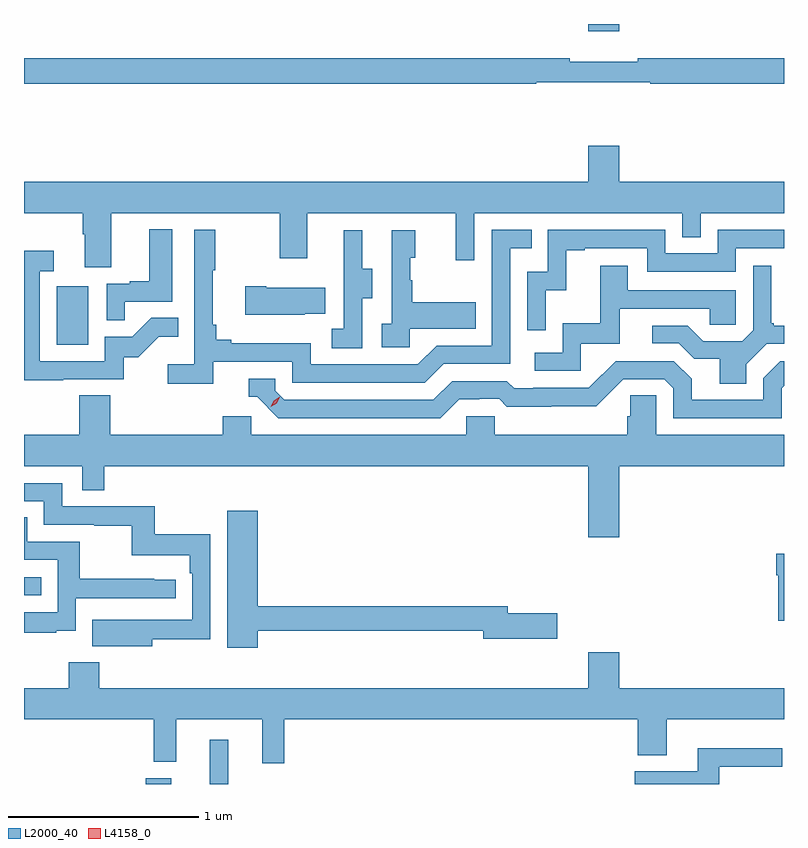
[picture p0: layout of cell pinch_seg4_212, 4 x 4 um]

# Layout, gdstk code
import gdstk
lib = gdstk.Library(unit=1e-6, precision=1e-09)
def R(c, l, rs):  # rectangles x0, y0, x1, y1
    for r in rs: c.add(gdstk.rectangle(r[:2], r[2:], *l))
def P(c, l, *ps):  # polygons
    for p in ps: c.add(gdstk.Polygon(p, *l))
L2000_40 = (2000, 40)
L4158_0 = (4158, 0)

pinch_seg4_212 = lib.new_cell('pinch_seg4_212')
R(pinch_seg4_212, L2000_40, [(1013.828,821.787,1013.962,821.818), (1014.165,821.787,1014.262,822.019), (1013.187,822.78,1013.279,822.876), (1013.36,824.1,1013.524,824.407), (1016.156,825.75,1016.32,825.787)])
P(pinch_seg4_212, L2000_40, [(1015.882,825.48),(1016.482,825.48),(1016.482,825.472),(1017.187,825.472),(1017.187,825.608),(1016.416,825.608),(1016.416,825.589),(1016.06,825.589),(1016.06,825.608),(1013.187,825.608),(1013.187,825.472),(1015.882,825.472)],
  [(1013.647,824.792),(1014.532,824.792),(1014.532,824.553),(1014.679,824.553),(1014.679,824.792),(1015.46,824.792),(1015.46,824.544),(1015.557,824.544),(1015.557,824.792),(1016.652,824.792),(1016.652,824.665),(1016.748,824.665),(1016.748,824.792),(1017.187,824.792),(1017.187,824.956),(1016.32,824.956),(1016.32,825.145),(1016.156,825.145),(1016.156,824.956),(1013.187,824.956),(1013.187,824.792),(1013.495,824.792),(1013.495,824.68),(1013.507,824.68),(1013.507,824.506),(1013.647,824.506)],
  [(1013.717,824.325),(1013.968,824.325),(1013.968,824.707),(1013.846,824.707),(1013.846,824.434),(1013.743,824.434),(1013.743,824.421),(1013.622,824.421),(1013.622,824.227),(1013.717,824.227)],
  [(1014.182,824.01),(1014.6,824.01),(1014.6,823.899),(1015.297,823.899),(1015.396,823.998),(1015.746,823.998),(1015.746,824.607),(1015.859,824.607),(1015.859,824.703),(1015.65,824.703),(1015.65,824.094),(1015.359,824.094),(1015.26,823.995),(1014.696,823.995),(1014.696,824.107),(1014.277,824.107),(1014.277,824.126),(1014.2,824.126),(1014.2,824.203),(1014.181,824.203),(1014.181,824.491),(1014.193,824.491),(1014.193,824.704),(1014.084,824.704),(1014.084,823.996),(1013.943,823.996),(1013.943,823.894),(1014.182,823.894)],
  [(1015.932,824.387),(1016.042,824.387),(1016.042,824.595),(1016.137,824.595),(1016.137,824.607),(1016.466,824.607),(1016.466,824.484),(1016.934,824.484),(1016.934,824.607),(1017.187,824.607),(1017.187,824.703),(1016.838,824.703),(1016.838,824.58),(1016.562,824.58),(1016.562,824.703),(1015.944,824.703),(1015.944,824.484),(1015.836,824.484),(1015.836,824.175),(1015.932,824.175)],
  [(1015.218,824.183),(1015.565,824.183),(1015.565,824.323),(1015.231,824.323),(1015.231,824.438),(1015.221,824.438),(1015.221,824.556),(1015.246,824.556),(1015.246,824.701),(1015.122,824.701),(1015.122,824.21),(1015.071,824.21),(1015.071,824.085),(1015.218,824.085)],
  [(1014.966,824.344),(1015.021,824.344),(1015.021,824.499),(1014.967,824.499),(1014.967,824.701),(1014.869,824.701),(1014.869,824.487),(1014.87,824.487),(1014.87,824.183),(1014.807,824.183),(1014.807,824.08),(1014.966,824.08)],
  [(1013.393,823.917),(1013.712,823.917),(1013.712,824.034),(1013.788,824.034),(1013.895,824.141),(1013.999,824.141),(1013.999,824.24),(1013.856,824.24),(1013.758,824.142),(1013.613,824.142),(1013.613,824.013),(1013.271,824.013),(1013.271,824.487),(1013.344,824.487),(1013.344,824.593),(1013.187,824.593),(1013.187,823.912),(1013.393,823.912)],
  [(1016.989,823.996),(1017.096,824.103),(1017.187,824.103),(1017.187,824.2),(1017.133,824.2),(1017.133,824.212),(1017.121,824.212),(1017.121,824.515),(1017.024,824.515),(1017.024,824.175),(1016.967,824.118),(1016.761,824.118),(1016.68,824.199),(1016.493,824.199),(1016.493,824.106),(1016.634,824.106),(1016.714,824.026),(1016.849,824.026),(1016.849,823.894),(1016.989,823.894)],
  [(1016.118,824.103),(1016.323,824.103),(1016.323,824.289),(1016.797,824.289),(1016.797,824.205),(1016.934,824.205),(1016.934,824.385),(1016.365,824.385),(1016.365,824.515),(1016.221,824.515),(1016.221,824.212),(1016.022,824.212),(1016.022,824.058),(1015.875,824.058),(1015.875,823.962),(1016.118,823.962)],
  [(1014.665,824.261),(1014.773,824.261),(1014.773,824.398),(1014.463,824.398),(1014.463,824.406),(1014.351,824.406),(1014.351,824.258),(1014.665,824.258)],
  [(1015.477,823.812),(1015.584,823.812),(1015.584,823.815),(1015.687,823.815),(1015.729,823.773),(1015.962,823.773),(1015.962,823.775),(1016.198,823.775),(1016.34,823.917),(1016.556,823.917),(1016.604,823.869),(1016.604,823.713),(1017.174,823.713),(1017.174,823.869),(1017.187,823.882),(1017.187,824.013),(1017.168,824.013),(1017.078,823.923),(1017.078,823.809),(1016.701,823.809),(1016.701,823.919),(1016.607,824.013),(1016.301,824.013),(1016.16,823.872),(1015.867,823.872),(1015.867,823.869),(1015.768,823.869),(1015.729,823.908),(1015.44,823.908),(1015.341,823.809),(1014.558,823.809),(1014.51,823.857),(1014.51,823.92),(1014.371,823.92),(1014.371,823.824),(1014.414,823.824),(1014.525,823.713),(1015.378,823.713)],
  [(1016.32,823.46),(1017.187,823.46),(1017.187,823.624),(1016.514,823.624),(1016.514,823.832),(1016.377,823.832),(1016.377,823.722),(1016.363,823.722),(1016.363,823.624),(1015.665,823.624),(1015.665,823.722),(1015.515,823.722),(1015.515,823.624),(1014.384,823.624),(1014.384,823.722),(1014.233,823.722),(1014.233,823.624),(1013.642,823.624),(1013.642,823.832),(1013.477,823.832),(1013.477,823.624),(1013.187,823.624),(1013.187,823.46),(1013.493,823.46),(1013.493,823.333),(1013.609,823.333),(1013.609,823.46),(1016.156,823.46),(1016.156,823.086),(1016.32,823.086)],
  [(1013.863,822.55),(1014.168,822.55),(1014.168,823.102),(1013.875,823.102),(1013.875,823.248),(1013.388,823.248),(1013.388,823.371),(1013.187,823.371),(1013.187,823.275),(1013.292,823.275),(1013.292,823.152),(1013.557,823.152),(1013.557,823.147),(1013.754,823.147),(1013.754,822.992),(1014.059,822.992),(1014.059,822.896),(1014.072,822.896),(1014.072,822.651),(1013.759,822.651),(1013.759,822.652),(1013.545,822.652),(1013.545,822.512),(1013.863,822.512)],
  [(1014.418,822.594),(1015.604,822.594),(1015.604,822.551),(1015.993,822.551),(1015.993,822.686),(1015.732,822.686),(1015.732,822.722),(1014.418,822.722),(1014.418,823.225),(1014.257,823.225),(1014.257,822.504),(1014.418,822.504)],
  [(1013.357,822.593),(1013.46,822.593),(1013.46,822.765),(1013.986,822.765),(1013.986,822.861),(1013.873,822.861),(1013.873,822.866),(1013.48,822.866),(1013.48,823.062),(1013.203,823.062),(1013.203,823.19),(1013.187,823.19),(1013.187,822.966),(1013.364,822.966),(1013.364,822.69),(1013.187,822.69),(1013.187,822.582),(1013.357,822.582)],
  [(1017.187,823),(1017.146,823),(1017.146,822.887),(1017.158,822.887),(1017.158,822.647),(1017.187,822.647)],
  [(1014.557,822.128),(1016.417,822.128),(1016.417,821.938),(1016.569,821.938),(1016.569,822.128),(1017.187,822.128),(1017.187,822.292),(1016.32,822.292),(1016.32,822.481),(1016.156,822.481),(1016.156,822.292),(1013.582,822.292),(1013.582,822.427),(1013.422,822.427),(1013.422,822.292),(1013.187,822.292),(1013.187,822.128),(1013.869,822.128),(1013.869,821.903),(1013.987,821.903),(1013.987,822.128),(1014.44,822.128),(1014.44,821.895),(1014.557,821.895)],
  [(1016.845,821.877),(1017.178,821.877),(1017.178,821.974),(1016.732,821.974),(1016.732,821.853),(1016.402,821.853),(1016.402,821.787),(1016.845,821.787)])
P(pinch_seg4_212, L4158_0, [(1014.486,823.772),(1014.486,823.772),(1014.502,823.804),(1014.533,823.824),(1014.533,823.824),(1014.533,823.824),(1014.517,823.791),(1014.486,823.772)])

lib.write_gds('pinch_seg4_212.gds')
